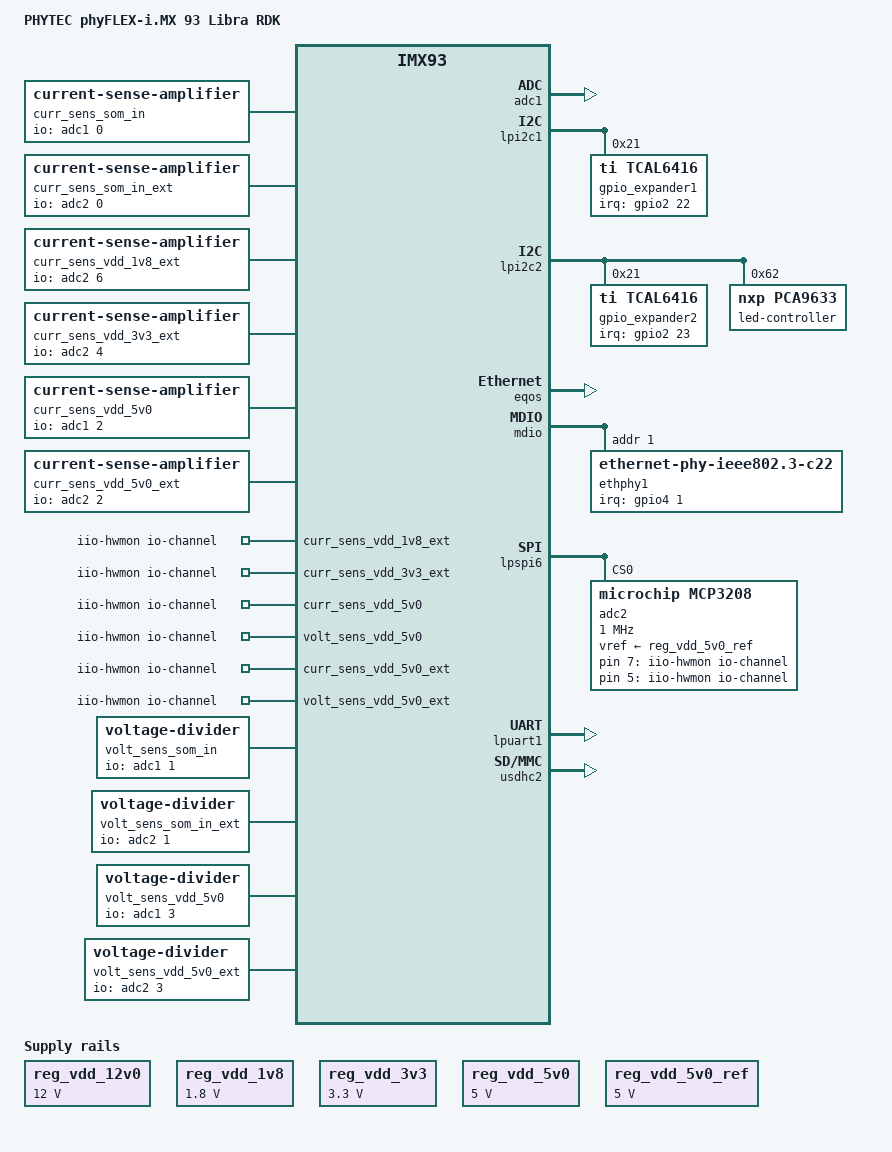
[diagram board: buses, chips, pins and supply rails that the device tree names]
// SPDX-License-Identifier: (GPL-2.0+ OR MIT)
/*
 * Copyright (C) 2025 PHYTEC Messtechnik GmbH
 * Author: Christoph Stoidner <c.stoidner@phytec.de>
 *
 * Product homepage:
 * https://www.phytec.eu/en/produkte/development-kits/phyflex-imx-93-kit/
 */

/dts-v1/;

#include <dt-bindings/net/ti-dp83867.h>
#include "imx93-phyflex-fpsc-g-som.dtsi"

/ {
	model = "PHYTEC phyFLEX-i.MX 93 Libra RDK";
	compatible = "phytec,imx93-phyflex-libra-rdk", "phytec,imx93-phyflex-fpsc-g",
		     "fsl,imx93";

	aliases {
		mmc0 = &usdhc1;
		mmc1 = &usdhc2;
	};

	chosen {
		stdout-path = &lpuart1;
	};

	curr_sens_som_in: current-sense-som-in {
		compatible = "current-sense-amplifier";
		#io-channel-cells = <0>;
		io-channels = <&adc1 0>;
		sense-gain-div = <3>;
		sense-gain-mult = <100>;
		sense-resistor-micro-ohms = <4000>;
	};

	curr_sens_som_in_ext: current-sense-som-in-ext {
		compatible = "current-sense-amplifier";
		#io-channel-cells = <0>;
		io-channels = <&adc2 0>;
		sense-gain-div = <15>;
		sense-gain-mult = <1400>;
		sense-resistor-micro-ohms = <4000>;
	};

	curr_sens_vdd_1v8_ext: current-sense-vdd-1v8-ext {
		compatible = "current-sense-amplifier";
		#io-channel-cells = <0>;
		io-channels = <&adc2 6>;
		sense-gain-mult = <100>;
		sense-resistor-micro-ohms = <4000>;
	};

	curr_sens_vdd_3v3_ext: current-sense-vdd-3v3-ext {
		compatible = "current-sense-amplifier";
		#io-channel-cells = <0>;
		io-channels = <&adc2 4>;
		sense-gain-mult = <100>;
		sense-resistor-micro-ohms = <4000>;
	};

	curr_sens_vdd_5v0: current-sense-vdd-5v0 {
		compatible = "current-sense-amplifier";
		#io-channel-cells = <0>;
		io-channels = <&adc1 2>;
		sense-gain-div = <3>;
		sense-gain-mult = <100>;
		sense-resistor-micro-ohms = <4000>;
	};

	curr_sens_vdd_5v0_ext: current-sense-vdd-5v0-ext {
		compatible = "current-sense-amplifier";
		#io-channel-cells = <0>;
		io-channels = <&adc2 2>;
		sense-gain-div = <15>;
		sense-gain-mult = <1400>;
		sense-resistor-micro-ohms = <4000>;
	};

	iio-hwmon {
		compatible = "iio-hwmon";
		io-channels = <&curr_sens_vdd_1v8_ext>, <&adc2 7>,
				<&curr_sens_vdd_3v3_ext>, <&adc2 5>,
				<&curr_sens_vdd_5v0>, <&volt_sens_vdd_5v0>,
				<&curr_sens_vdd_5v0_ext>, <&volt_sens_vdd_5v0_ext>,
				<&curr_sens_som_in>, <&volt_sens_som_in>,
				<&curr_sens_som_in_ext>, <&volt_sens_som_in_ext>;
	};

	reg_vdd_12v0: regulator-vdd-12v0 {
		compatible = "regulator-fixed";
		regulator-always-on;
		regulator-boot-on;
		regulator-max-microvolt = <12000000>;
		regulator-min-microvolt = <12000000>;
		regulator-name = "VDD_12V0";
	};

	reg_vdd_1v8: regulator-vdd-1v8 {
		compatible = "regulator-fixed";
		regulator-always-on;
		regulator-boot-on;
		regulator-min-microvolt = <1800000>;
		regulator-max-microvolt = <1800000>;
		regulator-name = "VDD_1V8";
	};

	reg_vdd_3v3: regulator-vdd-3v3 {
		compatible = "regulator-fixed";
		regulator-always-on;
		regulator-boot-on;
		regulator-min-microvolt = <3300000>;
		regulator-max-microvolt = <3300000>;
		regulator-name = "VDD_3V3";
	};

	reg_vdd_5v0: regulator-vdd-5v0 {
		compatible = "regulator-fixed";
		regulator-always-on;
		regulator-boot-on;
		regulator-max-microvolt = <5000000>;
		regulator-min-microvolt = <5000000>;
		regulator-name = "VDD_5V0";
	};

	reg_vdd_5v0_ref: regulator-vdd-5v0-ref {
		compatible = "regulator-fixed";
		regulator-always-on;
		regulator-boot-on;
		regulator-max-microvolt = <5000000>;
		regulator-min-microvolt = <5000000>;
		regulator-name = "VDD_5V0_REF";
	};

	volt_sens_som_in: voltage-sense-som-in {
		compatible = "voltage-divider";
		#io-channel-cells = <0>;
		io-channels = <&adc1 1>;
		output-ohms = <100>;
		full-ohms = <346>;
	};

	volt_sens_som_in_ext: voltage-sense-som-in-ext {
		compatible = "voltage-divider";
		#io-channel-cells = <0>;
		io-channels = <&adc2 1>;
		output-ohms = <280>;
		full-ohms = <346>;
	};

	volt_sens_vdd_5v0: voltage-sense-vdd-5v0 {
		compatible = "voltage-divider";
		#io-channel-cells = <0>;
		io-channels = <&adc1 3>;
		output-ohms = <100>;
		full-ohms = <346>;
	};

	volt_sens_vdd_5v0_ext: voltage-sense-vdd-5v0-ext {
		compatible = "voltage-divider";
		#io-channel-cells = <0>;
		io-channels = <&adc2 3>;
		output-ohms = <280>;
		full-ohms = <346>;
	};
};

/* ADC */
&adc1 {
	status = "okay";
};

/* FPSC I2C2 */
&lpi2c1 {
	status = "okay";

	gpio_expander1: gpio@21 {
		compatible = "ti,tcal6416";
		reg = <0x21>;
		interrupt-controller;
		interrupt-parent = <&gpio2>;
		interrupts = <22 IRQ_TYPE_LEVEL_LOW>;
		#interrupt-cells = <2>;
		#gpio-cells = <2>;
		gpio-controller;
		gpio-line-names = "VCONN_nFAULT", "CSI1_CTRL1", "CSI1_CTRL3",
				  "CSI1_CTRL4", "USB-C_nINT/AUDIO_AC",
				  "CSI2_CTRL1", "CSI2_CTRL3", "CSI2_CTRL4",
				  "CLK_EN_AV", "W_nDISABLE1", "W_nDISABLE2",
				  "PCIE1_nWAKE", "PCIE2_nWAKE", "UART1_nWAKE",
				  "UART1_BT_RS_SEL", "UART1_RS232_485_SEL";
	};
};

/* FPSC I2C3 */
&lpi2c2 {
	status = "okay";

	gpio_expander2: gpio@21 {
		compatible = "ti,tcal6416";
		reg = <0x21>;
		interrupt-controller;
		interrupt-parent = <&gpio2>;
		interrupts = <23 IRQ_TYPE_LEVEL_LOW>;
		#interrupt-cells = <2>;
		#gpio-cells = <2>;
		gpio-controller;
		gpio-line-names = "CAN1_STBY", "CAN2_STBY", "CAN3_STBY",
				  "KEY-E_nALERT", "KEY-M_nALERT",
				  "SDIO_nWAKE", "SDIO_nRESET", "HDMI_EN",
				  "RTC_nINT", "LVDS1_BL_EN", "SFP_TX_FAULT",
				  "SFP_TX_DISABLE", "SFP_MOD_ABS", "SFP_RS0",
				  "SFP_RX_LOSS", "SFP_RS1";
	};

	led-controller@62 {
		compatible = "nxp,pca9633";
		reg = <0x62>;
		#address-cells = <1>;
		#size-cells = <0>;

		led@0 {
			reg = <0>;
			color = <LED_COLOR_ID_RED>;
			function = LED_FUNCTION_STATUS;
		};

		led@1 {
			reg = <1>;
			color = <LED_COLOR_ID_GREEN>;
			function = LED_FUNCTION_STATUS;
		};

		led@2 {
			reg = <2>;
			color = <LED_COLOR_ID_BLUE>;
			function = LED_FUNCTION_STATUS;
		};
	};
};

/* FPSC ENET2 */
&eqos {
	status = "okay";
};

&mdio {
	ethphy1: ethernet-phy@1 {
		compatible = "ethernet-phy-ieee802.3-c22";
		reg = <1>;
		interrupt-parent = <&gpio4>;
		interrupts = <1 IRQ_TYPE_LEVEL_LOW>;
		ti,clk-output-sel = <DP83867_CLK_O_SEL_OFF>;
		ti,fifo-depth = <DP83867_PHYCR_FIFO_DEPTH_4_B_NIB>;
		ti,rx-internal-delay = <DP83867_RGMIIDCTL_1_50_NS>;
		ti,tx-internal-delay = <DP83867_RGMIIDCTL_1_75_NS>;
	};
};

/* FPSC SPI1 */
&lpspi6 {
	status = "okay";

	/* ADC */
	adc2: adc2@0 {
		compatible = "microchip,mcp3208";
		reg = <0>;
		spi-max-frequency = <1000000>;
		vref-supply = <&reg_vdd_5v0_ref>;
		#io-channel-cells = <1>;
	};
};

/* Console */
&lpuart1 {
	status = "okay";
};

/* SD-Card */
&usdhc2 {
	status = "okay";
};
